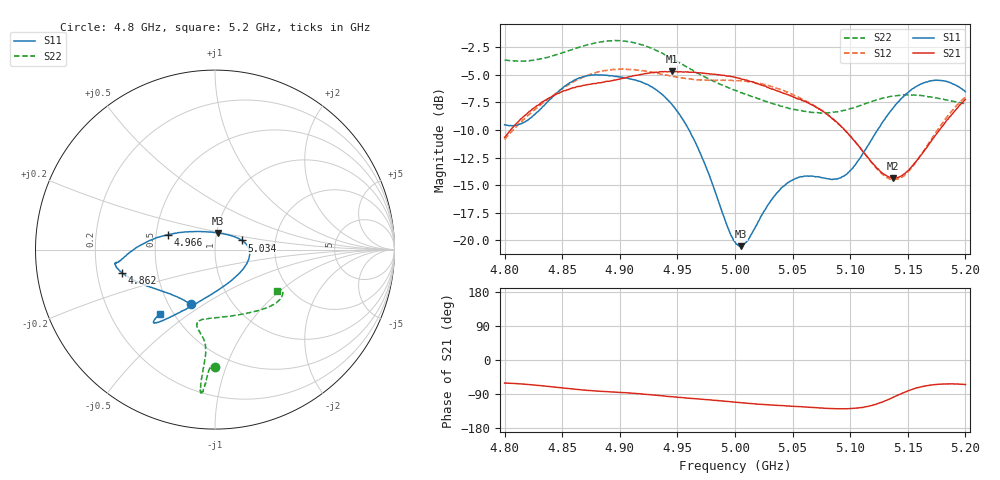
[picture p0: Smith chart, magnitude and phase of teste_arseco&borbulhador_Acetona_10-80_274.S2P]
! Network Analyzer HP8722D
! Hewlett-Packard
! Data name: Linha & Wilkinson
! Saver's name: Rodrigo Anjos
! Comments: Teste da utilização de aquisição
! continua pelo VNA HP8722D
! Time and date: 17/4/2025 16:38
!  Frequency  S11  S21  S12  S22
# HZ  S  MA R 50
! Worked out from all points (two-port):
!   401 points, 4.8 GHz to 5.2 GHz, reference 50 ohm
!   highest |S21| = -4.69 dB at 4.945 GHz (marker M1); lowest = -14.4 dB at 5.137 GHz (marker M2)
!   |S21| within 3 dB of the highest: 4.83 GHz to 5.066 GHz (236.2 MHz wide, 4.77 % of centre); 5.195666 GHz to end of sweep
!   lowest |S11| = -20.5 dB at 5.005 GHz (marker M3), VSWR 1.21, Z = 50.5 + j9.49 ohm
!   |S11| at or under -10 dB: 4.96 GHz to 5.124 GHz (163.6 MHz wide, 3.25 % of centre)
!   |S22| runs from -8.5 to -1.9 dB; largest |S21 - S12| = 0.87
!   S11 on the Smith chart (normalised r, x): 4.8 GHz: 0.64, -0.44; 4.862 GHz: 0.31, -0.11; 4.966 GHz: 0.58, +0.10; 5.034 GHz: 1.34, +0.14; 5.2 GHz: 0.42, -0.39
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4.8e9  0.334 -113.8  0.2928 -60.9  0.2863 -175.1  0.6563 -90.1
4.819e9  0.3479 -133.8  0.3727 -64.3  0.3622 -173.9  0.6514 -91.8
4.862e9  0.5363 -166.2  0.4957 -77.4  0.5302 -177.2  0.7428 -94.1
4.867e9  0.5482 -168.2  0.5013 -78.9  0.545 -178.2  0.7549 -94.3
4.9e9  0.5498 -172.6  0.5374 -85.5  0.5973 175.2  0.8028 -95.6
4.934e9  0.4707 -178.5  0.5792 -93.8  0.5703 171.7  0.7147 -96.0
4.945e9  0.4143 176.5  0.5829 -96.9  0.5559 171.8  0.6679 -95.6
4.966e9  0.275 162.4  0.576 -102.3  0.5348 173.6  0.579 -95.1
5e9  0.09848 99.2  0.5483 -111.1  0.5311 175.9  0.4787 -99.3
5.005e9  0.09408 81.3  0.5394 -112.7  0.5278 175.9  0.4669 -100.5
5.012e9  0.1017 58.1  0.5269 -114.4  0.5235 175.7  0.4536 -101.9
5.034e9  0.1581 18.9  0.4815 -119.4  0.4921 174.7  0.4146 -103.4
5.049e9  0.1862 3.8  0.4502 -121.9  0.4613 174.0  0.3941 -99.7
5.067e9  0.1954 -15.5  0.4098 -125.1  0.4127 173.6  0.3803 -90.3
5.086e9  0.1895 -45.7  0.3519 -128.4  0.3505 173.6  0.3808 -76.0
5.097e9  0.1994 -68.0  0.3091 -128.6  0.3094 174.7  0.3909 -66.9
5.134e9  0.3787 -117.2  0.1934 -103.1  0.1898 -156.0  0.4473 -43.0
5.137e9  0.3966 -119.0  0.1914 -99.1  0.1885 -151.2  0.4503 -41.7
5.15e9  0.4666 -124.7  0.2062 -81.7  0.2036 -131.4  0.456 -36.8
5.17e9  0.5277 -129.4  0.2796 -66.1  0.2849 -112.2  0.4464 -32.2
5.184e9  0.524 -130.6  0.3511 -63.1  0.3626 -107.5  0.4324 -31.2
5.2e9  0.4714 -130.9  0.4342 -64.7  0.4468 -106.8  0.4152 -33.5
